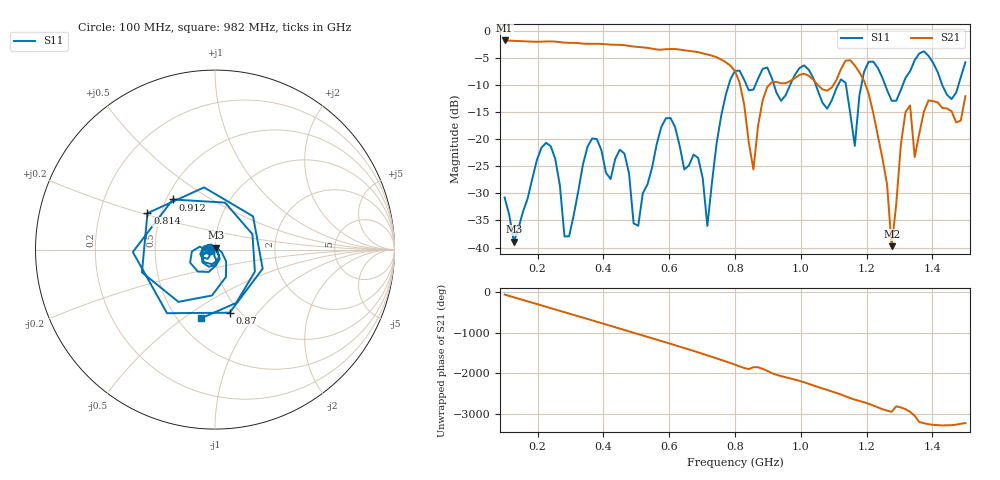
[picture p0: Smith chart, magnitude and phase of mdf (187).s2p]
! NanoVNA-App
! Date: 2025-09-25 15:39:53
! Start: 100MHz Stop: 1,5GHz Points: 101
! S-Parameter data: F S11 S21 S12 S22
# Hz S RI R 50
!  Frequency  S11_Real  S11_Imag  S21_Real  S21_Imag  S12_Real  S12_Imag  S22_Real  S22_Imag
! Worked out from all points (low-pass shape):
!   101 points, 100 MHz to 1.5 GHz, reference 50 ohm
!   highest |S21| = -1.80 dB at 100 MHz (marker M1); lowest = -39.8 dB at 1.276 GHz (marker M2)
!   |S21| within 3 dB of the highest: start of sweep to 739.3 MHz
!   lowest |S11| = -38.9 dB at 128 MHz (marker M3), VSWR 1.02, Z = 50.3 + j1.08 ohm
!   |S11| at or under -10 dB: start of sweep to 781 MHz; 1.045 GHz to 1.113 GHz (68.01 MHz wide, 6.3 % of centre); 1.256 GHz to 1.31 GHz (53.78 MHz wide, 4.19 % of centre) (the widest 3 of 7)
!   S12 and S22 are empty: the file has one direction only
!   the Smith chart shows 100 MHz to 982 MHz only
!   S11 on the Smith chart (normalised r, x): 100 MHz: 0.94, -0.01; 814 MHz: 0.42, +0.21; 870 MHz: 0.90, -0.73; 912 MHz: 0.54, +0.35; 982 MHz: 0.65, -0.58
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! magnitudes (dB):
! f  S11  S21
! 100 MHz  -30.8  -1.8
! 128 MHz  -38.9  -1.9
! 212 MHz  -21.6  -2.0
! 282 MHz  -38.0  -2.2
! 338 MHz  -24.7  -2.4
! 464 MHz  -22.7  -2.7
! 506 MHz  -36.0  -3.0
! 576 MHz  -17.8  -3.5
! 688 MHz  -23.5  -4.0
! 716 MHz  -36.0  -4.4
! 800 MHz  -7.4  -7.5
! 814 MHz  -7.4  -9.6
! 856 MHz  -10.9  -25.6
! 870 MHz  -8.9  -17.6
! 912 MHz  -8.8  -9.5
! 982 MHz  -8.2  -8.8
! 1.038 GHz  -8.7  -9.1
! 1.164 GHz  -21.3  -6.4
! 1.192 GHz  -7.6  -9.2
! 1.276 GHz  -12.9  -39.8
! 1.318 GHz  -8.7  -15.0
! 1.5 GHz  -5.8  -12.1
